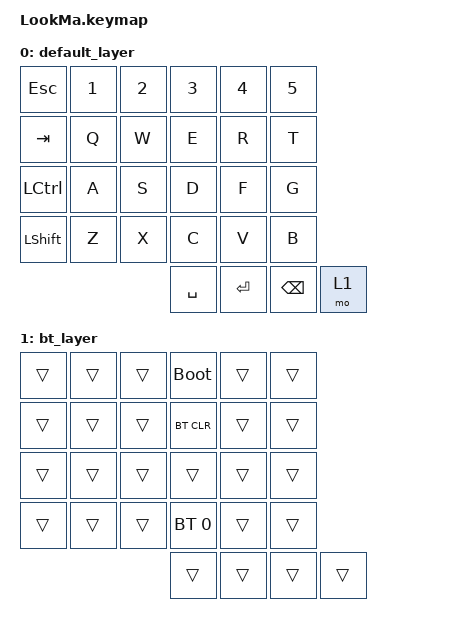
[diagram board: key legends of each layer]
#include <behaviors.dtsi>
#include <dt-bindings/zmk/keys.h>
#include <dt-bindings/zmk/bt.h>

/ {
    keymap {
        compatible = "zmk,keymap";

        default_layer {
            bindings = <
                &kp ESC   &kp N1 &kp N2 &kp N3    &kp N4    &kp N5   
                &kp TAB   &kp Q  &kp W  &kp E     &kp R     &kp T  
                &kp LCTRL &kp A  &kp S  &kp D     &kp F     &kp G 
                &kp LSHFT &kp Z  &kp X  &kp C     &kp V     &kp B
                                        &kp SPACE &kp RET   &kp BSPC    &mo 1 
            >;                                        
        };
         bt_layer {
            bindings = <
                &trans     &trans       &trans      &bootloader &trans      &trans
                &trans     &trans       &trans      &bt BT_CLR  &trans      &trans
                &trans     &trans       &trans      &trans      &trans      &trans
                &trans     &trans       &trans      &bt BT_SEL 0 &trans     &trans
                                                    &trans     &trans       &trans      &trans     
            >;
        };
    };
};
